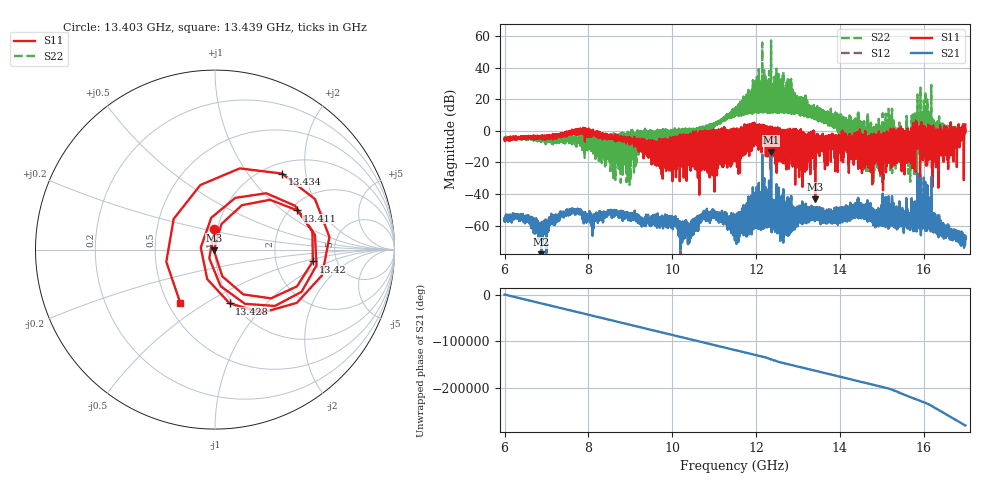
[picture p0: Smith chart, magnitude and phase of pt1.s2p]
#  HZ  S  RI  R  50.00
! Rohde & Schwarz Vector Network Analyzer
! Rohde-Schwarz,ZNA67-2Port,1332450062101215,3.01
! Created: UTC 10/15/2026, 12:01:26 PM
! freq[Hz]  re:S11  im:S11  re:S21  im:S21  re:S12  im:S12  re:S22  im:S22
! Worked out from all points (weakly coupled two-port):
!   11001 points, 6 GHz to 17 GHz, reference 50 ohm
!   highest |S21| = -13.46 dB at 12.361 GHz (marker M1); lowest = -78.4 dB at 6.873 GHz (marker M2)
!   lowest |S11| = -43.2 dB at 13.415 GHz (marker M3), VSWR 1.01, Z = 49.4 - j0.278 ohm
!   |S11| at or under -10 dB: 9.548367 GHz to 9.555497 GHz (7.13 MHz wide, 0.0746 % of centre); 14.44999 GHz to 14.46131 GHz (11.32 MHz wide, 0.0783 % of centre); 15.98013 GHz to 15.99003 GHz (9.905 MHz wide, 0.062 % of centre) (the widest 3 of 508)
!   |S22| runs from -34.2 to 57.1 dB; largest |S21 - S12| = 0.007
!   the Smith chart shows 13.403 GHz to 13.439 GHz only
!   S11 on the Smith chart (normalised r, x): 13.403 GHz: 0.97, +0.23; 13.411 GHz: 2.18, +1.28; 13.42 GHz: 3.31, -0.62; 13.428 GHz: 0.97, -0.64; 13.434 GHz: 1.19, +1.48; 13.439 GHz: 0.58, -0.40
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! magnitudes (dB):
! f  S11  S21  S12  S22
! 6 GHz  -4.9  -56.4  -56.4  -4.3
! 6.568 GHz  -3.1  -54.0  -54.1  -4.4
! 6.873 GHz  -3.4  -78.4  -76.9  -7.2
! 7.834 GHz  -0.8  -51.0  -50.8  -4.0
! 9.667 GHz  -9.6  -55.4  -55.7  0.2
! 10.429 GHz  -8.1  -63.8  -63.6  -5.0
! 10.985 GHz  -5.1  -55.1  -54.7  4.3
! 11.5 GHz  -8.8  -57.5  -57.4  11.9
! 12.361 GHz  -0.6  -13.5  -13.5  57.1
! 12.715 GHz  -14.7  -62.0  -62.4  15.0
! 13.334 GHz  -16.6  -52.5  -52.9  11.0
! 13.403 GHz  -18.6  -49.5  -49.4  13.7
! 13.411 GHz  -5.9  -56.5  -56.6  8.2
! 13.415 GHz  -43.2  -52.6  -52.4  11.9
! 13.42 GHz  -5.2  -48.6  -48.4  13.5
! 13.428 GHz  -10.2  -55.8  -55.9  8.3
! 13.434 GHz  -5.0  -54.9  -54.5  7.7
! 13.439 GHz  -9.0  -53.4  -53.2  8.6
! 14.815 GHz  -2.8  -53.4  -53.0  -0.9
! 15.167 GHz  -6.3  -56.5  -58.1  -5.2
! 16.061 GHz  -7.7  -59.4  -59.6  -1.4
! 17 GHz  4.1  -67.9  -67.4  0.6
